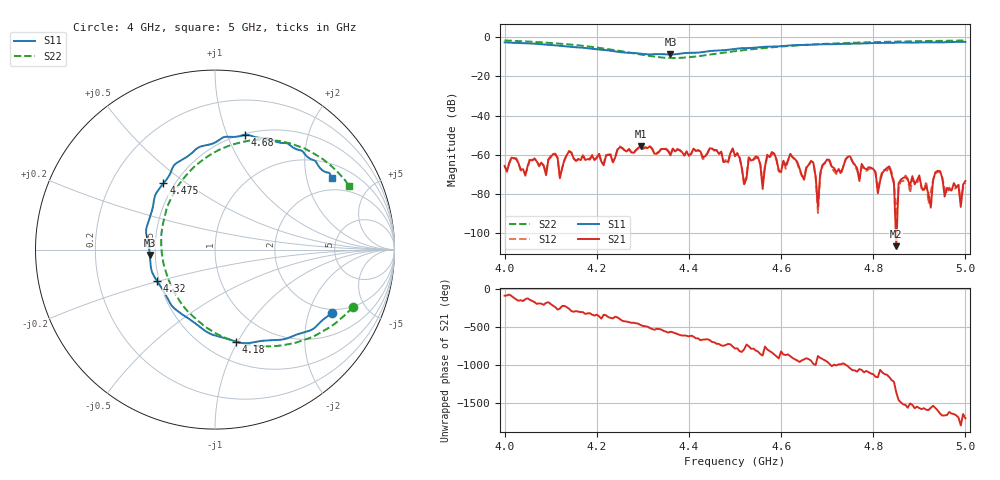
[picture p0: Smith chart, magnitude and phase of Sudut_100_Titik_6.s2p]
# Hz S RI R 50
! CMT, C1220, 16058040, 17.2.0/1
! Date: 15/08/2018 12:10:05
! Data: Format (Calibration Info)
! Freq  S11: Re/Im (F2)  S21: Re/Im (F2)  S12: Re/Im (F2)  S22: Re/Im (F2)
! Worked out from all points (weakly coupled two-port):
!   201 points, 4 GHz to 5 GHz, reference 50 ohm
!   highest |S21| = -55.54 dB at 4.295 GHz (marker M1); lowest = -106.8 dB at 4.85 GHz (marker M2)
!   lowest |S11| = -8.8 dB at 4.36 GHz (marker M3), VSWR 2.15, Z = 23.3 - j1.63 ohm
!   |S11| at or under -10 dB: nowhere
!   |S22| runs from -10.6 to -1.6 dB; largest |S21 - S12| = 0.00015
!   S11 on the Smith chart (normalised r, x): 4 GHz: 1.83, -2.88; 4.18 GHz: 0.70, -0.99; 4.32 GHz: 0.49, -0.20; 4.475 GHz: 0.44, +0.41; 4.68 GHz: 0.51, +1.16; 5 GHz: 1.47, +2.83
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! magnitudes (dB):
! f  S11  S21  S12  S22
! 4 GHz  -2.6  -65.8  -65.7  -1.6
! 4.12 GHz  -4.3  -72.1  -71.4  -3.2
! 4.17 GHz  -5.3  -60.5  -60.3  -4.4
! 4.18 GHz  -5.6  -62.3  -62.3  -4.6
! 4.295 GHz  -8.4  -55.5  -55.7  -8.8
! 4.32 GHz  -8.7  -56.9  -56.8  -9.7
! 4.335 GHz  -8.6  -58.6  -58.5  -10.2
! 4.36 GHz  -8.8  -60.3  -59.9  -10.5
! 4.475 GHz  -6.6  -63.8  -63.7  -7.9
! 4.5 GHz  -5.9  -60.6  -60.8  -7.1
! 4.52 GHz  -5.5  -75.1  -75.9  -6.5
! 4.55 GHz  -5.1  -61.4  -61.5  -5.8
! 4.56 GHz  -4.9  -77.5  -74.4  -5.5
! 4.58 GHz  -4.7  -58.7  -59.5  -5.1
! 4.67 GHz  -3.7  -64.1  -63.9  -3.6
! 4.68 GHz  -3.6  -86.5  -89.8  -3.5
! 4.7 GHz  -3.5  -62.4  -63.0  -3.3
! 4.8 GHz  -2.9  -67.4  -67.5  -2.5
! 4.81 GHz  -2.9  -79.8  -78.2  -2.4
! 4.835 GHz  -2.9  -66.0  -65.9  -2.3
! 4.85 GHz  -2.7  -106.8  -91.7  -2.2
! 5 GHz  -2.3  -73.5  -74.5  -1.6
